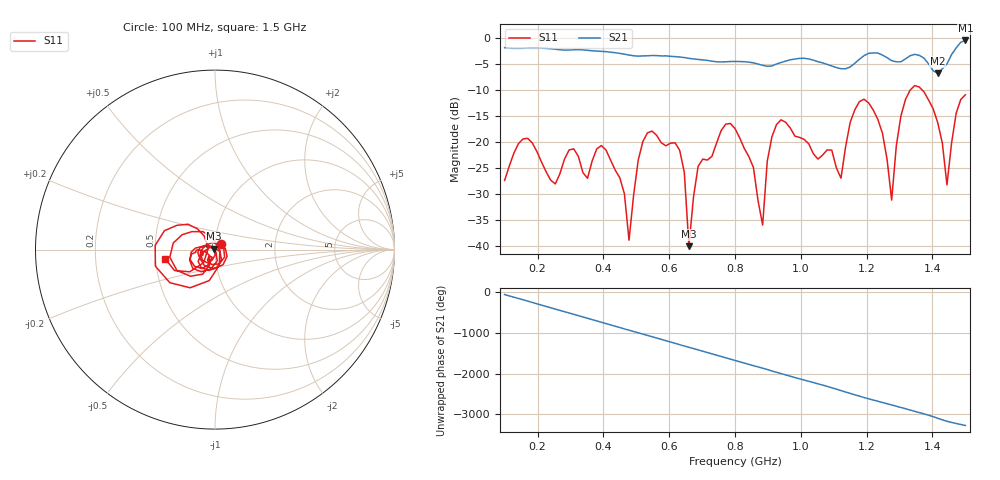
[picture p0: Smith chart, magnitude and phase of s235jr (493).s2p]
! NanoVNA-App
! Date: 2025-09-25 15:08:00
! Start: 100MHz Stop: 1,5GHz Points: 101
! S-Parameter data: F S11 S21 S12 S22
# Hz S RI R 50
!  Frequency  S11_Real  S11_Imag  S21_Real  S21_Imag  S12_Real  S12_Imag  S22_Real  S22_Imag
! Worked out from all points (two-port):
!   101 points, 100 MHz to 1.5 GHz, reference 50 ohm
!   highest |S21| = -0.57 dB at 1.5 GHz (marker M1); lowest = -6.9 dB at 1.416 GHz (marker M2)
!   |S21| within 3 dB of the highest: start of sweep to 502.9 MHz; 510.9 MHz to 595.7 MHz (84.85 MHz wide, 15.3 % of centre) (the widest 2 of 5)
!   lowest |S11| = -40.1 dB at 660 MHz (marker M3), VSWR 1.02, Z = 49.2 + j0.559 ohm
!   |S11| at or under -10 dB: start of sweep to 1.334 GHz; 1.367 GHz to end of sweep
!   S12 and S22 are empty: the file has one direction only
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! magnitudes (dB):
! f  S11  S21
! 100 MHz  -27.5  -2.0
! 170 MHz  -19.4  -2.0
! 338 MHz  -26.0  -2.4
! 408 MHz  -21.6  -2.7
! 478 MHz  -39.0  -3.4
! 520 MHz  -20.0  -3.5
! 576 MHz  -20.2  -3.5
! 632 MHz  -21.7  -3.7
! 660 MHz  -40.1  -4.0
! 688 MHz  -24.8  -4.2
! 800 MHz  -17.5  -4.6
! 884 MHz  -36.0  -5.3
! 926 MHz  -16.8  -5.1
! 1.038 GHz  -22.3  -4.4
! 1.122 GHz  -27.0  -6.0
! 1.192 GHz  -11.9  -3.5
! 1.248 GHz  -18.4  -3.4
! 1.276 GHz  -31.2  -4.5
! 1.332 GHz  -10.1  -3.5
! 1.416 GHz  -16.4  -6.9
! 1.444 GHz  -28.3  -5.1
! 1.5 GHz  -11.0  -0.6
